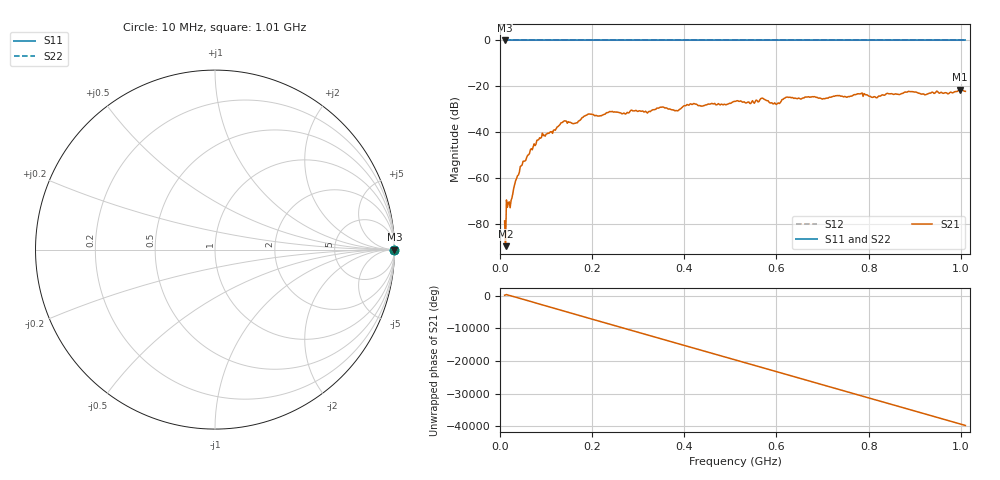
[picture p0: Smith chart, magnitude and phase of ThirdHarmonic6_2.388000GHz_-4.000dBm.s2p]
! 8/17/2025 3:51:03 AM
! C:\ANRITSUVNA\TEMP\TEMP.S2P
! CHANNEL.1
! TR.MEASUREMENT
! RAW.DATA
! RF.CORRECTION.OFF
! AVERAGING.OFF
! IF.BANDWIDTH: 5KHZ
! SWEEPTYPE:  FREQ.SWEEP(Linear)
! Reference Plane Port Info
! PORT:  PORT1  PORT2
! DISTANCE:  0  m  0  m
! TIME:  0  s  0  s
! PHASE.OFFSET:  0  deg.  0  deg.
! LOSS:  0  dB  0  dB
! REF.LOSS:  0  dB  0  dB
! REF.FREQ:  0  Hz  0  Hz
! Power Info
! POWER:  -20  dBm  -20  dBm
! EFF.POWER:  -20  dBm  -20  dBm
! SOURCE.ATTEN:  0  dB  0  dB
! TEST.ATTEN:  0  dB  0  dB
# GHZ S RI R 50.0
! FREQ.GHZ  S11RE  S11IM  S21RE  S21IM  S12RE  S12IM  S22RE  S22IM
!; PortSelection: Port_12
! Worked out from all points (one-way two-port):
!   501 points, 10 MHz to 1.01 GHz, reference 50 ohm
!   highest |S21| = -21.48 dB at 998 MHz (marker M1); lowest = -89.5 dB at 12 MHz (marker M2)
!   lowest |S11| = 0.0 dB at 10 MHz (marker M3)
!   |S11| at or under -10 dB: nowhere
!   |S22| runs from 0.0 to 0.0 dB; largest |S21 - S12| = 1.1
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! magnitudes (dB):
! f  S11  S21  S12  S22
! 10 MHz  0.0  -78.5  0.0  0.0
! 12 MHz  0.0  -89.5  0.0  0.0
! 48 MHz  0.0  -54.2  0.0  0.0
! 84 MHz  0.0  -43.2  0.0  0.0
! 136 MHz  0.0  -35.6  0.0  0.0
! 164 MHz  0.0  -36.0  0.0  0.0
! 178 MHz  0.0  -33.6  0.0  0.0
! 194 MHz  0.0  -32.0  0.0  0.0
! 322 MHz  0.0  -31.1  0.0  0.0
! 344 MHz  0.0  -29.5  0.0  0.0
! 384 MHz  0.0  -30.5  0.0  0.0
! 416 MHz  0.0  -27.9  0.0  0.0
! 510 MHz  0.0  -26.5  0.0  0.0
! 570 MHz  0.0  -25.1  0.0  0.0
! 602 MHz  0.0  -27.4  0.0  0.0
! 622 MHz  0.0  -24.7  0.0  0.0
! 678 MHz  0.0  -24.5  0.0  0.0
! 782 MHz  0.0  -23.2  0.0  0.0
! 814 MHz  0.0  -24.5  0.0  0.0
! 844 MHz  0.0  -23.2  0.0  0.0
! 998 MHz  0.0  -21.5  0.0  0.0
! 1.01 GHz  0.0  -22.1  0.0  0.0
